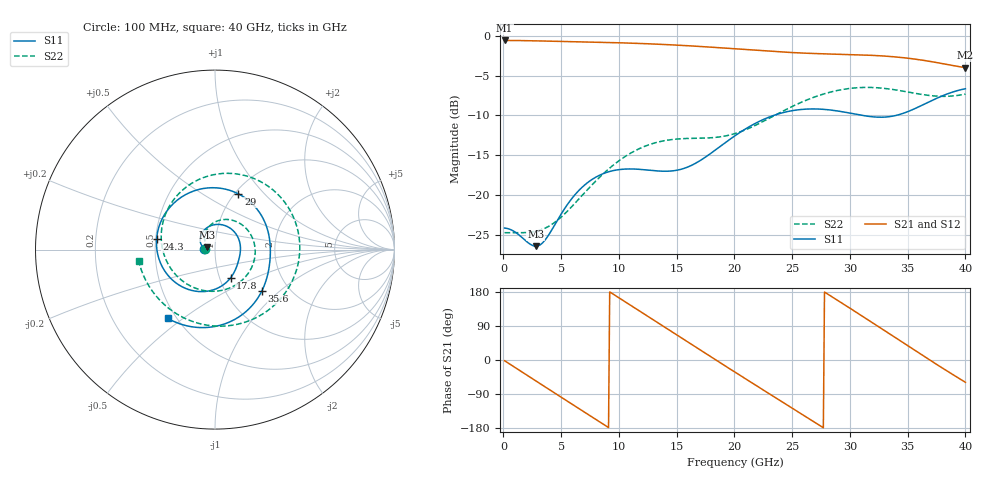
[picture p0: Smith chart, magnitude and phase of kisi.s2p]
! D_s8_cap_none: L1 (ref L2 GND) → L3 (ref L4 PWR), no capacitor
! stackup: 8-layer 1.6 mm FR-4 (generic)
! ports: 1, 2
! kisi-fdtd, conformal, dfine 0.0175 mm (the cell at metal ÷ 2), 2066652 cells
# Hz S RI R 50
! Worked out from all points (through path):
!   400 points, 100 MHz to 40 GHz, reference 50 ohm
!   highest |S21| = -0.61 dB at 100 MHz (marker M1); lowest = -4.0 dB at 40 GHz (marker M2)
!   group delay of S21, straight-line fit = 54 ps
!   lowest |S11| = -26.4 dB at 2.8 GHz (marker M3), VSWR 1.10, Z = 45.6 + j1.19 ohm
!   |S11| at or under -10 dB: start of sweep to 23.39 GHz; 31.1 GHz to 33.97 GHz (2.869 GHz wide, 8.82 % of centre)
!   |S22| runs from -24.7 to -6.5 dB; largest |S21 - S12| = 0.0028
!   S11 on the Smith chart (normalised r, x): 100 MHz: 0.88, +0.00; 17.8 GHz: 1.13, -0.37; 24.3 GHz: 0.51, +0.07; 29 GHz: 1.04, +0.73; 35.6 GHz: 1.46, -0.77; 40 GHz: 0.45, -0.44
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1e8  -0.0624 0.00144  0.9318 -0.0321  0.9303 -0.032  -0.0584 0.00111
1.4e9  -0.054 0.0153  0.8248 -0.4315  0.8244 -0.4301  -0.0564 0.0148
2.8e9  -0.0463 0.013  0.5298 -0.7608  0.5309 -0.7601  -0.0534 0.0265
4.8e9  -0.07 0.0183  -0.069 -0.9176  -0.0687 -0.9186  -0.0556 0.0442
6.8e9  -0.0781 0.0806  -0.6272 -0.6642  -0.6281 -0.6642  -0.057 0.0817
8.4e9  -0.0268 0.1317  -0.8756 -0.2407  -0.8756 -0.2401  -0.0349 0.1267
9.9e9  0.0498 0.1357  -0.8755 0.2178  -0.8749 0.2179  0.0186 0.1615
1.18e10  0.124 0.076  -0.5598 0.6956  -0.5598 0.6951  0.1205 0.1553
1.34e10  0.1419 0.00727  -0.1153 0.8757  -0.1157 0.8756  0.198 0.0857
1.54e10  0.1301 -0.0657  0.4555 0.7398  0.4555 0.7401  0.2176 -0.0619
1.66e10  0.1151 -0.1087  0.7039 0.492  0.7042 0.4921  0.1704 -0.1509
1.78e10  0.0866 -0.1576  0.8308 0.1702  0.831 0.17  0.0828 -0.2134
2.01e10  -0.0482 -0.2326  0.6925 -0.4502  0.6922 -0.4503  -0.1359 -0.2031
2.22e10  -0.2373 -0.1693  0.2292 -0.7725  0.2293 -0.7722  -0.2807 -0.0374
2.43e10  -0.3254 0.0591  -0.3165 -0.7217  -0.3162 -0.7219  -0.2744 0.2003
2.67e10  -0.1543 0.3113  -0.7246 -0.2701  -0.7249 -0.2703  -0.0627 0.4018
2.9e10  0.1299 0.3107  -0.6991 0.3088  -0.6991 0.3093  0.2422 0.3849
3.13e10  0.2872 0.1284  -0.2736 0.7042  -0.2731 0.7039  0.4552 0.1316
3.34e10  0.3072 -0.0469  0.2582 0.6946  0.2575 0.6941  0.4221 -0.1912
3.56e10  0.2607 -0.2311  0.6419 0.3105  0.6417 0.3117  0.1436 -0.4115
3.76e10  0.0965 -0.396  0.6578 -0.157  0.6595 -0.1572  -0.1853 -0.3741
4e10  -0.2633 -0.383  0.3265 -0.5381  0.3246 -0.5401  -0.425 -0.0657
